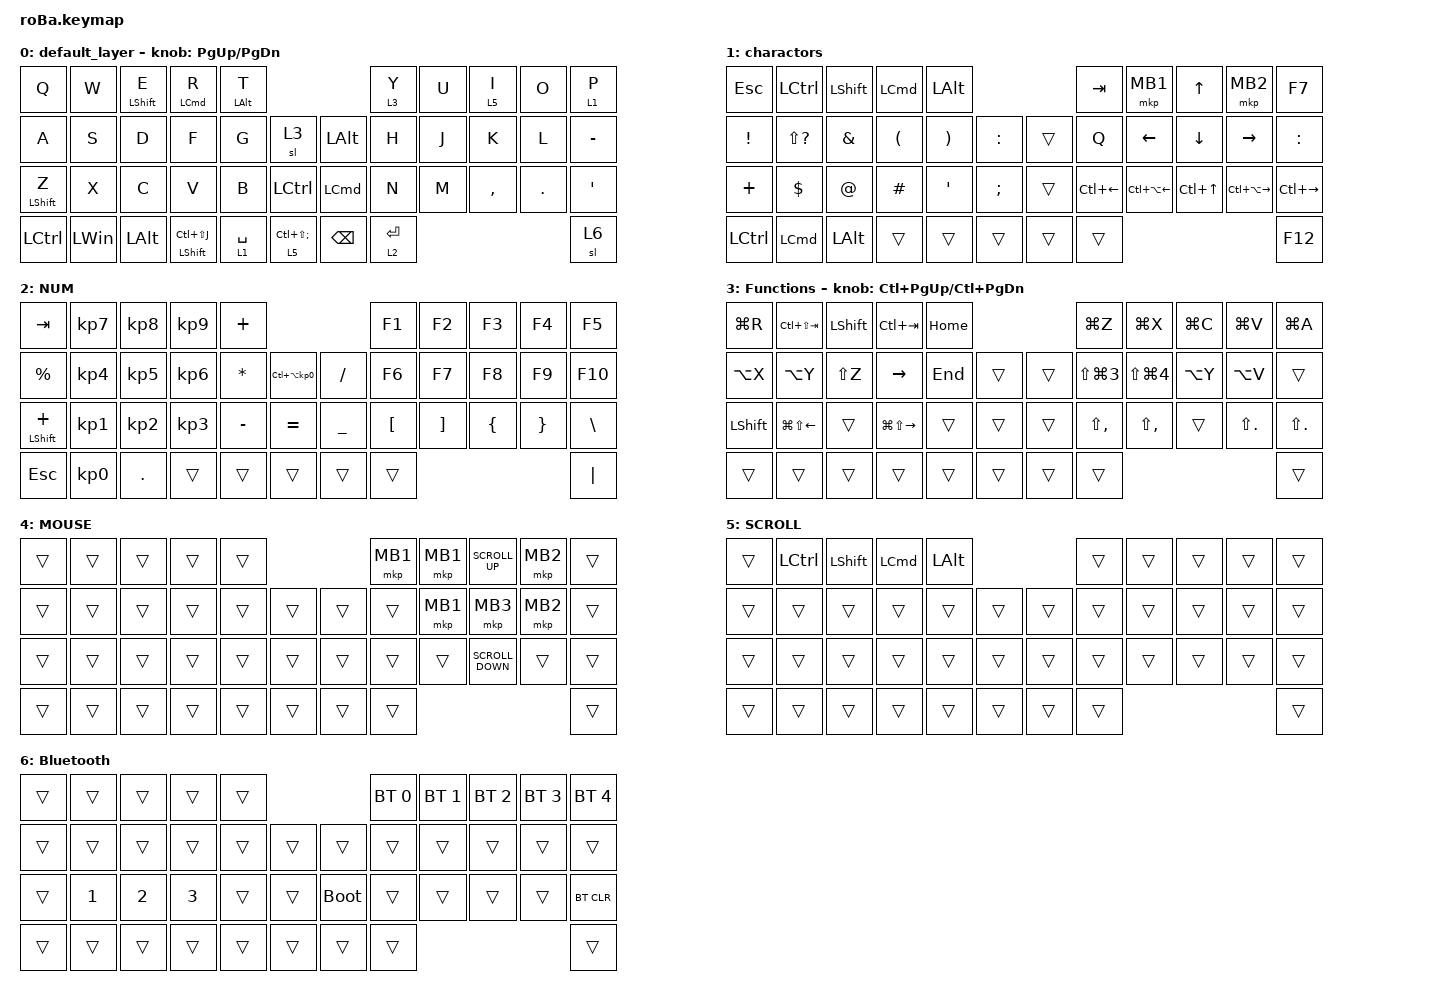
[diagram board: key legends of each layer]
#include <behaviors.dtsi>
#include <dt-bindings/zmk/bt.h>
#include <dt-bindings/zmk/keys.h>
#include <dt-bindings/zmk/pointing.h>

#define MOUSE 4
#define SCROLL 5
#define NUM 6

&mt {
    flavor = "balanced";
    quick-tap-ms = <0>;
};

/ {
    combos {
        compatible = "zmk,combos";

        tab {
            bindings = <&kp TAB>;
            key-positions = <11 12>;
        };

        shift_tab {
            bindings = <&kp LS(TAB)>;
            key-positions = <12 13>;
        };

        muhennkann {
            bindings = <&to_layer_0 INT_MUHENKAN>;
            key-positions = <11 10>;
        };

        double_quotation {
            bindings = <&kp DOUBLE_QUOTES>;
            key-positions = <20 21>;
        };

        eq {
            bindings = <&kp EQUAL>;
            key-positions = <24 25>;
        };
    };

    macros {
        to_layer_0: to_layer_0 {
            compatible = "zmk,behavior-macro-one-param";
            #binding-cells = <1>;
            bindings = <&to 0 &macro_param_1to1 &kp MACRO_PLACEHOLDER>;
            label = "TO_LAYER_0";
        };
    };

    behaviors {
        lt_to_layer_0: lt_to_layer_0 {
            compatible = "zmk,behavior-hold-tap";
            label = "LAYER_TAP_TO_0";
            bindings = <&mo>, <&to_layer_0>;

            #binding-cells = <2>;
            tapping-term-ms = <200>;
        };
    };

    keymap {
        compatible = "zmk,keymap";

        default_layer {
            bindings = <
&kp Q             &kp W         &mt LEFT_SHIFT E  &mt LEFT_COMMAND R        &mt LEFT_ALT T                                                 &lt 3 Y      &kp U  &lt 5 I    &kp O    &lt 1 P
&kp A             &kp S         &kp D             &kp F                     &kp G           &sl 3                        &kp LEFT_ALT      &kp H        &kp J  &kp K      &kp L    &kp MINUS
&mt LEFT_SHIFT Z  &kp X         &kp C             &kp V                     &kp B           &kp LEFT_CONTROL             &kp LEFT_COMMAND  &kp N        &kp M  &kp COMMA  &kp DOT  &kp APOS
&kp LCTRL         &kp LEFT_WIN  &kp LEFT_ALT      &mt LEFT_SHIFT LC(LS(J))  &lt 1 SPACE     &lt 5 LC(LS(SEMICOLON))      &kp BACKSPACE     &lt 2 ENTER                             &sl 6
            >;

            sensor-bindings = <&inc_dec_kp PG_UP PAGE_DOWN>;
        };

        charactors {
            bindings = <
&kp ESCAPE        &kp LEFT_CONTROL  &kp LEFT_SHIFT  &kp LEFT_COMMAND      &kp LEFT_ALT                                  &kp TAB             &mkp MB1                &kp UP_ARROW      &mkp MB2                 &kp F7
&kp EXCLAMATION   &kp LS(QUESTION)  &kp AMPERSAND   &kp LEFT_PARENTHESIS  &kp RIGHT_PARENTHESIS  &kp COLON      &trans  &kp Q               &kp LEFT_ARROW          &kp DOWN_ARROW    &kp RIGHT_ARROW          &kp COLON
&kp PLUS          &kp DOLLAR        &kp AT_SIGN     &kp HASH              &kp SINGLE_QUOTE       &kp SEMI       &trans  &kp LC(LEFT_ARROW)  &kp LC(LA(LEFT_ARROW))  &kp LC(UP_ARROW)  &kp LC(LA(RIGHT_ARROW))  &kp LC(RIGHT_ARROW)
&kp LEFT_CONTROL  &kp LEFT_COMMAND  &kp LEFT_ALT    &trans                &trans                 &trans         &trans  &trans                                                                                 &kp F12
            >;
        };

        NUM {
            bindings = <
&kp TAB              &kp KP_NUMBER_7  &kp KP_NUMBER_8  &kp KP_NUMBER_9  &kp PLUS                                              &kp F1            &kp F2             &kp F3          &kp F4           &kp F5
&kp PERCENT          &kp KP_NUMBER_4  &kp KP_NUMBER_5  &kp KP_NUMBER_6  &kp ASTERISK  &kp LC(LA(KP_NUMBER_0))      &kp SLASH  &kp F6            &kp F7             &kp F8          &kp F9           &kp F10
&mt LEFT_SHIFT PLUS  &kp KP_NUMBER_1  &kp KP_NUMBER_2  &kp KP_NUMBER_3  &kp MINUS     &kp EQUAL                    &kp UNDER  &kp LEFT_BRACKET  &kp RIGHT_BRACKET  &kp LEFT_BRACE  &kp RIGHT_BRACE  &kp BACKSLASH
&kp ESCAPE           &kp KP_NUMBER_0  &kp PERIOD       &trans           &trans        &trans                       &trans     &trans                                                                &kp PIPE
            >;
        };

        Functions {
            bindings = <
&kp LG(R)       &kp LC(LS(TAB))         &kp LEFT_SHIFT  &kp LC(TAB)              &kp HOME                      &kp LG(Z)             &kp LG(X)             &kp LG(C)  &kp LG(V)       &kp LG(A)
&kp LA(X)       &kp LA(Y)               &kp LS(Z)       &kp RIGHT_ARROW          &kp END   &trans      &trans  &kp LS(LG(NUMBER_3))  &kp LS(LG(NUMBER_4))  &kp LA(Y)  &kp LA(V)       &trans
&kp LEFT_SHIFT  &kp LG(LS(LEFT_ARROW))  &trans          &kp LG(LS(RIGHT_ARROW))  &trans    &trans      &trans  &kp LS(COMMA)         &kp LS(COMMA)         &trans     &kp LS(PERIOD)  &kp LS(PERIOD)
&trans          &trans                  &trans          &trans                   &trans    &trans      &trans  &trans                                                                 &trans
            >;

            sensor-bindings = <&inc_dec_kp LC(PAGE_UP) LC(PAGE_DOWN)>;
        };

        MOUSE {
            bindings = <
&trans  &trans  &trans  &trans  &trans                      &mkp MB1  &mkp MB1  &kp K_SCROLL_UP    &mkp MB2  &trans
&trans  &trans  &trans  &trans  &trans  &trans      &trans  &trans    &mkp MB1  &mkp MB3           &mkp MB2  &trans
&trans  &trans  &trans  &trans  &trans  &trans      &trans  &trans    &trans    &kp K_SCROLL_DOWN  &trans    &trans
&trans  &trans  &trans  &trans  &trans  &trans      &trans  &trans                                           &trans
            >;
        };

        SCROLL {
            bindings = <
&trans  &kp LEFT_CONTROL  &kp LEFT_SHIFT  &kp LEFT_COMMAND  &kp LEFT_ALT                      &trans  &trans  &trans  &trans  &trans
&trans  &trans            &trans          &trans            &trans        &trans      &trans  &trans  &trans  &trans  &trans  &trans
&trans  &trans            &trans          &trans            &trans        &trans      &trans  &trans  &trans  &trans  &trans  &trans
&trans  &trans            &trans          &trans            &trans        &trans      &trans  &trans                          &trans
            >;
        };

        Bluetooth {
            bindings = <
&trans  &trans        &trans        &trans        &trans                           &bt BT_SEL 0  &bt BT_SEL 1  &bt BT_SEL 2  &bt BT_SEL 3  &bt BT_SEL 4
&trans  &trans        &trans        &trans        &trans  &trans      &trans       &trans        &trans        &trans        &trans        &trans
&trans  &kp NUMBER_1  &kp NUMBER_2  &kp NUMBER_3  &trans  &trans      &bootloader  &trans        &trans        &trans        &trans        &bt BT_CLR
&trans  &trans        &trans        &trans        &trans  &trans      &trans       &trans                                                  &trans
            >;
        };
    };
};
